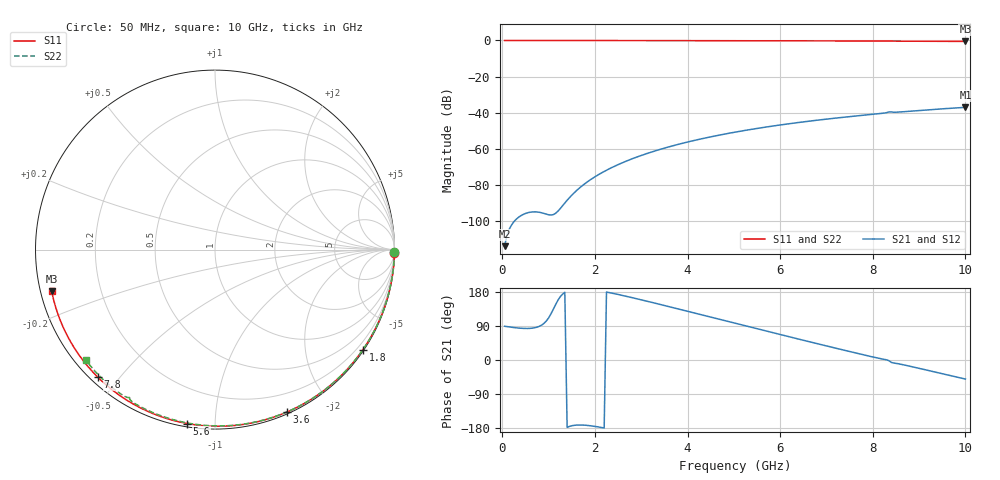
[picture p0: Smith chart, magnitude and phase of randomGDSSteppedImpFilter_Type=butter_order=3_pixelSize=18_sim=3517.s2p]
! freq	dB(S11)	phase(S11)	dB(S12)	phase(S12)
!  dB(S21)	phase(S21)	dB(S22)	phase(S22)
!S-par simulation data
#  GHz  S  DB  R 50
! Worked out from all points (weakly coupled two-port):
!   200 points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, 50 MHz to 10 GHz, reference 50 ohm
!   highest |S21| = -37.10 dB at 10 GHz (marker M1); lowest = -114.1 dB at 50 MHz (marker M2)
!   lowest |S11| = -0.5 dB at 10 GHz (marker M3), VSWR 31.78, Z = 1.6 - j6.29 ohm
!   |S11| at or under -10 dB: nowhere
!   |S22| runs from -0.5 to 0.0 dB; largest |S21 - S12| = 0
!   S11 on the Smith chart (normalised r, x): 50 MHz: open; 1.8 GHz: 0.03, -3.26; 3.6 GHz: 0.02, -1.53; 5.6 GHz: 0.02, -0.85; 7.8 GHz: 0.02, -0.44; 10 GHz: 0.03, -0.13
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0.05  -0.00 -1.0  -114.10 89.0  -114.10 89.0  -0.00 -0.8
0.85  -0.02 -16.3  -95.58 92.1  -95.58 92.1  -0.02 -13.7
1.75  -0.04 -33.2  -80.09 -171.8  -80.09 -171.8  -0.04 -27.9
1.8  -0.04 -34.1  -79.12 -172.2  -79.12 -172.2  -0.04 -28.7
2.1  -0.05 -39.6  -74.09 -177.2  -74.09 -177.2  -0.04 -33.3
2.5  -0.06 -46.9  -68.88 173.0  -68.88 173.0  -0.05 -39.5
2.9  -0.07 -54.0  -64.71 161.8  -64.71 161.8  -0.06 -45.5
3.4  -0.08 -62.8  -60.47 146.9  -60.47 146.9  -0.07 -53.0
3.6  -0.09 -66.3  -58.99 140.8  -58.99 140.8  -0.08 -56.0
4.3  -0.11 -78.1  -54.56 119.3  -54.56 119.3  -0.09 -66.1
5.05  -0.14 -90.4  -50.75 96.2  -50.75 96.2  -0.12 -76.6
5.6  -0.16 -99.1  -48.40 79.4  -48.40 79.4  -0.14 -84.1
6.15  -0.19 -107.6  -46.34 62.6  -46.34 62.6  -0.16 -91.5
6.7  -0.23 -116.0  -44.53 46.1  -44.53 46.1  -0.19 -98.7
7.8  -0.31 -132.5  -41.47 13.7  -41.47 13.7  -0.26 -112.7
8.2  -0.34 -138.5  -40.45 2.7  -40.45 2.7  -0.30 -118.0
8.35  -0.36 -140.7  -39.65 -1.9  -39.65 -1.9  -0.45 -120.2
8.4  -0.36 -141.5  -39.61 -6.3  -39.61 -6.3  -0.49 -119.8
8.5  -0.37 -143.0  -39.80 -8.8  -39.80 -8.8  -0.37 -120.8
8.8  -0.40 -147.4  -39.25 -16.4  -39.25 -16.4  -0.36 -124.8
9.4  -0.47 -156.5  -38.11 -33.3  -38.11 -33.3  -0.41 -132.2
10  -0.55 -165.6  -37.10 -50.3  -37.10 -50.3  -0.47 -139.5
